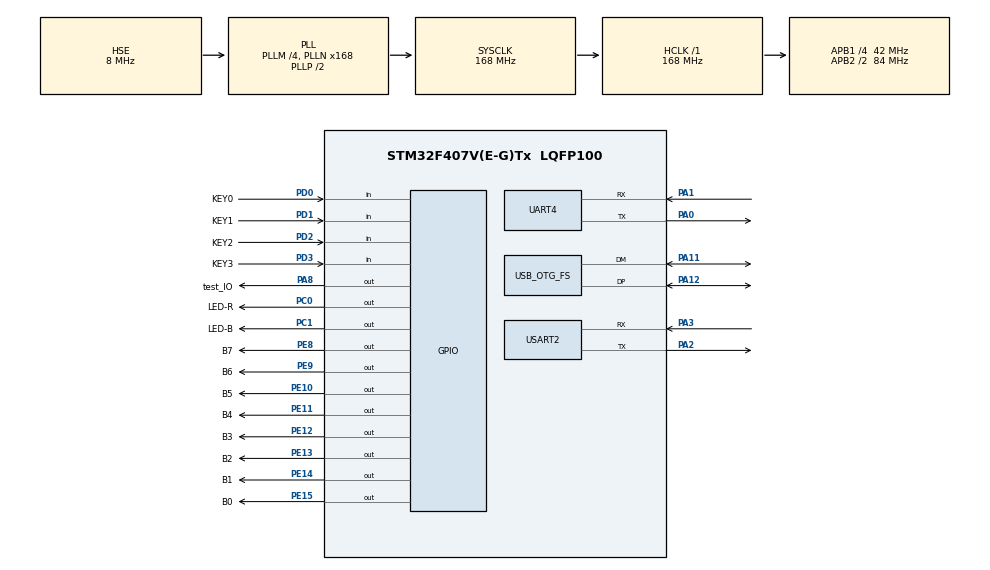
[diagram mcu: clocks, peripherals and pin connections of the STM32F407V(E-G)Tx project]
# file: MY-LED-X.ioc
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Mcu.Family=STM32F4
Mcu.Name=STM32F407V(E-G)Tx
Mcu.Package=LQFP100
NVIC.OTG_FS_IRQn=true\:0\:0\:false\:false\:true\:false\:true\:true
NVIC.PriorityGroup=NVIC_PRIORITYGROUP_4
NVIC.TIM3_IRQn=true\:0\:0\:false\:false\:true\:true\:true\:true
NVIC.UART4_IRQn=true\:0\:0\:false\:false\:true\:true\:true\:true
NVIC.USART2_IRQn=true\:0\:0\:false\:false\:true\:true\:true\:true
PA0-WKUP.Mode=Asynchronous
PA0-WKUP.Signal=UART4_TX
PA1.GPIO_PuPd=GPIO_PULLUP
PA1.Mode=Asynchronous
PA1.Signal=UART4_RX
PA11.Mode=Host_Only
PA11.Signal=USB_OTG_FS_DM
PA12.Mode=Host_Only
PA12.Signal=USB_OTG_FS_DP
PA2.Mode=Asynchronous
PA2.Signal=USART2_TX
PA3.GPIO_PuPd=GPIO_PULLUP
PA3.Mode=Asynchronous
PA3.Signal=USART2_RX
PA8.GPIO_Label=test_IO
PA8.GPIO_Speed=GPIO_SPEED_FREQ_VERY_HIGH
PA8.Signal=GPIO_Output
PC0.GPIO_Label=LED-R
PC0.Signal=GPIO_Output
PC1.GPIO_Label=LED-B
PC1.GPIO_Speed=GPIO_SPEED_FREQ_VERY_HIGH
PC1.PinState=GPIO_PIN_SET
PC1.Signal=GPIO_Output
PD0.GPIO_Label=KEY0
PD0.GPIO_PuPd=GPIO_PULLUP
PD0.Signal=GPIO_Input
PD1.GPIO_Label=KEY1
PD1.GPIO_PuPd=GPIO_PULLUP
PD1.Signal=GPIO_Input
PD2.GPIO_Label=KEY2
PD2.GPIO_PuPd=GPIO_PULLUP
PD2.Signal=GPIO_Input
PD3.GPIO_Label=KEY3
PD3.GPIO_PuPd=GPIO_PULLUP
PD3.Signal=GPIO_Input
PE10.GPIO_Label=B5
PE10.Signal=GPIO_Output
PE11.GPIO_Label=B4
PE11.Signal=GPIO_Output
PE12.GPIO_Label=B3
PE12.Signal=GPIO_Output
PE13.GPIO_Label=B2
PE13.Signal=GPIO_Output
PE14.GPIO_Label=B1
PE14.Signal=GPIO_Output
PE15.GPIO_Label=B0
PE15.Signal=GPIO_Output
PE8.GPIO_Label=B7
PE8.Signal=GPIO_Output
PE9.GPIO_Label=B6
PE9.Signal=GPIO_Output
PH0-OSC_IN.Mode=HSE-External-Oscillator
PH0-OSC_IN.Signal=RCC_OSC_IN
PH1-OSC_OUT.Mode=HSE-External-Oscillator
PH1-OSC_OUT.Signal=RCC_OSC_OUT
ProjectManager.HeapSize=0x200
ProjectManager.StackSize=0x400
ProjectManager.TargetToolchain=STM32CubeIDE
RCC.48MHZClocksFreq_Value=48000000
RCC.AHBFreq_Value=168000000
RCC.APB1CLKDivider=RCC_HCLK_DIV4
RCC.APB1Freq_Value=42000000
RCC.APB1TimFreq_Value=84000000
RCC.APB2CLKDivider=RCC_HCLK_DIV2
RCC.APB2Freq_Value=84000000
RCC.APB2TimFreq_Value=168000000
RCC.CortexFreq_Value=168000000
RCC.HCLKFreq_Value=168000000
RCC.HSE_VALUE=8000000
RCC.HSI_VALUE=16000000
RCC.LSE_VALUE=32768
RCC.PLLM=4
RCC.PLLN=168
RCC.PLLQ=7
RCC.RCC_MCO1Source=RCC_MCO1SOURCE_PLLCLK
RCC.RCC_MCODiv1=RCC_MCODIV_2
RCC.RCC_MCODiv2=RCC_MCODIV_2
RCC.SYSCLKFreq_VALUE=168000000
RCC.SYSCLKSource=RCC_SYSCLKSOURCE_PLLCLK
RCC.VCOOutputFreq_Value=336000000
TIM3.Period=999
TIM3.Prescaler=83
UART4.VirtualMode=Asynchronous
USART2.VirtualMode=VM_ASYNC
USB_HOST.BSP.number=1
USB_HOST.USBH_HandleTypeDef-ALL_Classes_FS=hUsbHostFS
USB_HOST.VirtualModeFS=All_Classes
USB_HOST0.BSP.STBoard=false
USB_HOST0.BSP.api=Unknown
USB_HOST0.BSP.condition=SW_VBUS_DRIVE_CDC_FS \= false
USB_HOST0.BSP.instance=PA8
USB_HOST0.BSP.ip=GPIO
USB_HOST0.BSP.mode=Output
USB_HOST0.BSP.name=Drive_VBUS_FS
USB_HOST0.BSP.solution=PA8
USB_OTG_FS.VirtualMode=Host_Only
USB_OTG_FS.phy_itface=HCD_PHY_EMBEDDED
VP_TIM3_VS_ClockSourceINT.Mode=Internal
VP_USB_HOST_VS_USB_HOST_ALL_CLASS_FS.Mode=ALL_Classes_FS
board=custom

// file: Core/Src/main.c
/* USER CODE BEGIN Header */
/**
  ******************************************************************************
  * @file           : main.c
  * @brief          : Main program body
  ******************************************************************************
  * @attention
  *
  * Copyright (c) 2025 STMicroelectronics.
  * All rights reserved.
  *
  * This software is licensed under terms that can be found in the LICENSE file
  * in the root directory of this software component.
  * If no LICENSE file comes with this software, it is provided AS-IS.
  *
  ******************************************************************************
  */
/* USER CODE END Header */
#include "main.h"
#include "tim.h"
#include "usart.h"
#include "usb_host.h"
#include "gpio.h"

/* USER CODE BEGIN Includes */
#include "usbh_cdc.h"
#include <stdio.h>
#include "usbh_core.h"
#include "usbh_ft232.h"
/* USER CODE END Includes */

void SystemClock_Config(void);
void MX_USB_HOST_Process(void);

/* USER CODE BEGIN PFP */
#include "crc_xmod.h"
volatile uint8_t 		time3_1000ms_flag=0,time3_500ms_flag=0,time3_100ms_flag=0,time3_50ms_flag=0,time3_10ms_flag=0,time3_1ms_flag ;
volatile uint8_t 		and_uart_stop_cnt=0,and_rx_buffer[and_uart_buf_size],and_rx_buffer_bk[and_uart_buf_size];
volatile uint8_t 		pc_uart_stop_cnt=0,pc_rx_buffer[pc_uart_buf_size],pc_rx_buffer_bk[pc_uart_buf_size];
volatile uint32_t 		and_current_len_bk=0,and_current_len=0,pc_current_len=0,pc_current_len_bk=0;
volatile uint8_t 		temp1,temp2;
volatile uint16_t		crc_temp1;
volatile uint8_t    	send_buf[64],line_coding_set=0;
volatile uint32_t 		voltage1=0,voltage2=0;
/* USER CODE END PFP */

/* USER CODE BEGIN 0 */
#define COMPILER_BARRIER() __asm volatile("" ::: "memory")
uint8_t flag;

extern USBH_HandleTypeDef hUsbHostFS;
extern ApplicationTypeDef Appli_state;
extern USBH_StatusTypeDef usbresult;

#define RX_BUFF_SIZE   64  /* Max Received data 1KB */

uint8_t CDC_RX_Buffer[RX_BUFF_SIZE];
uint8_t CDC_TX_Buffer[RX_BUFF_SIZE];

typedef enum {
  CDC_STATE_IDLE = 0,
  CDC_SEND,
  CDC_RECEIVE,
}CDC_StateTypedef;

CDC_StateTypedef CDC_STATE = CDC_STATE_IDLE;

uint8_t i=0;
void CDC_HANDLE (void)
{
	switch (CDC_STATE)
	{
	case CDC_STATE_IDLE:
	{
		  USBH_CDC_Stop(&hUsbHostFS);
//
		  CDC_TX_Buffer[0]=0x02;
		  CDC_TX_Buffer[1]=0x30;
		  CDC_TX_Buffer[2]=0x30;
		  CDC_TX_Buffer[3]=0x35;
		  CDC_TX_Buffer[4]=0x34;
		  CDC_TX_Buffer[5]=0x31;
		  CDC_TX_Buffer[6]=0x20;
		  CDC_TX_Buffer[7]=0x20;
		  CDC_TX_Buffer[8]=0x20;
		  CDC_TX_Buffer[9]=0x03;
		  CDC_TX_Buffer[10]=0x31;
		  CDC_TX_Buffer[11]=0x33;
		  CDC_TX_Buffer[12]=0x0D;
		  CDC_TX_Buffer[13]=0x0A;
		  if (USBH_CDC_Transmit (&hUsbHostFS, CDC_TX_Buffer, 14) == USBH_OK)
		  {
			  CDC_STATE = CDC_RECEIVE;
		  }

		  i++;
		  break;
	}

	case CDC_RECEIVE:
	{
		  USBH_CDC_Stop(&hUsbHostFS);
		  usbresult = USBH_CDC_Receive(&hUsbHostFS, (uint8_t *) CDC_RX_Buffer, RX_BUFF_SIZE);
		  HAL_Delay (1000);
		  pc_uart_send(CDC_RX_Buffer,RX_BUFF_SIZE);
		  CDC_STATE = CDC_IDLE;
	}

	default:
		  break;
	}
}

void my_copy(uint8_t*desti,uint8_t* sourc,uint32_t len)
{
	for(uint32_t i=0;i<len;i++){	desti[i]=sourc[i];}
}
void delay_us(uint32_t cnt)
{
	while(cnt--)
	{
		__NOP();__NOP();__NOP();__NOP();__NOP();__NOP();__NOP();__NOP();__NOP();__NOP();__NOP();__NOP();__NOP();__NOP();__NOP();__NOP();__NOP();__NOP();__NOP();__NOP();__NOP();__NOP();__NOP();__NOP();__NOP();__NOP();__NOP();__NOP();__NOP();__NOP();__NOP();__NOP();__NOP();__NOP();__NOP();__NOP();__NOP();__NOP();__NOP();__NOP();__NOP();__NOP();__NOP();__NOP();__NOP();__NOP();__NOP();__NOP();__NOP();__NOP();__NOP();__NOP();__NOP();__NOP();__NOP();__NOP();__NOP();__NOP();__NOP();__NOP();__NOP();__NOP();__NOP();__NOP();__NOP();__NOP();__NOP();__NOP();__NOP();__NOP();__NOP();__NOP();__NOP();__NOP();__NOP();__NOP();__NOP();__NOP();__NOP();__NOP();__NOP();__NOP();__NOP();__NOP();__NOP();__NOP();__NOP();__NOP();__NOP();__NOP();__NOP();__NOP();__NOP();__NOP();__NOP();__NOP();__NOP();__NOP();__NOP();__NOP();
		__NOP();__NOP();__NOP();__NOP();__NOP();__NOP();__NOP();__NOP();__NOP();__NOP();__NOP();__NOP();__NOP();__NOP();__NOP();__NOP();__NOP();__NOP();__NOP();__NOP();__NOP();__NOP();__NOP();__NOP();__NOP();__NOP();__NOP();__NOP();__NOP();__NOP();__NOP();__NOP();__NOP();__NOP();__NOP();__NOP();__NOP();__NOP();__NOP();__NOP();__NOP();__NOP();__NOP();__NOP();__NOP();__NOP();__NOP();__NOP();__NOP();__NOP();__NOP();__NOP();__NOP();__NOP();__NOP();__NOP();__NOP();__NOP();__NOP();__NOP();__NOP();__NOP();__NOP();__NOP();__NOP();
	}
}
#define delay_100ns() {__NOP();__NOP();__NOP();__NOP();__NOP();__NOP();__NOP();__NOP();__NOP();__NOP();__NOP();__NOP();__NOP();__NOP();__NOP();__NOP();__NOP();}
void delay_ms(uint32_t cnt)
{
	while(cnt--)
	{
		delay_us(1000);
	}
}
#define  dac_delay()  delay_us(1)
//#define  dac_delay()  delay_100ns()
void set_voltage1(uint32_t valuee)
{
	SYNC1_SET();
	CLK_SET()
	dac_delay();
	SYNC1_RESET();
	dac_delay();
	valuee<<=8;
	for(uint32_t i=0;i<24;i++)
	{
		if(valuee&0x80000000)	{DAT_SET();}
		else									{DAT_RESET();}
		valuee<<=1;
		dac_delay();
		CLK_RESET();
		dac_delay();
		CLK_SET();
	}
	SYNC1_SET();
}
void set_voltage2(uint32_t valuee)
{
	SYNC2_SET();
	CLK_SET()
	dac_delay();
	SYNC2_RESET();
	dac_delay();
	valuee<<=8;
	for(uint32_t i=0;i<24;i++)
	{
		if(valuee&0x80000000)	{DAT_SET();}
		else									{DAT_RESET();}
		valuee<<=1;
		dac_delay();
		CLK_RESET();
		dac_delay();
		CLK_SET();
	}
	SYNC2_SET();
}
void send_data_1(USART_TypeDef *USARTx, uint8_t dddat)
{
	uint32_t i=100;
	LL_USART_TransmitData8(USARTx, dddat);
	while(--i)
	{
		if(LL_USART_IsActiveFlag_TXE(USARTx)!=RESET){break;}
		delay_us(1);
	}
}
void send_data_all(USART_TypeDef *USARTx, uint8_t* dat,uint32_t len)
{
//	__disable_irq();
	uint32_t i=1000;
	for(uint32_t i=0;i<len;i++)	{	send_data_1(USARTx,dat[i]);	}

	while(--i)
	{
		if(LL_USART_IsActiveFlag_TC(USARTx)!=RESET){break;}
		delay_us(1);
	}
//	__enable_irq();
}
void pc_uart_send( uint8_t* dat,uint32_t len)
{
	send_data_all(UART4,dat,len);
}
void send_test(void)
{
	send_buf[0]=1;
	send_buf[1]=2;
	send_buf[2]=3;
	send_buf[3]=4;
	send_data_all(USART2, (uint8_t*)send_buf,4);
}

// 重定向printf到UART4
int __io_putchar(int ch)
{
//  HAL_UART_Transmit(&huart4, (uint8_t*)&ch, 1, HAL_MAX_DELAY);
  send_data_1(UART4,(uint8_t)ch);
  return ch;
}

// 如果使用ARMCC编译器
int fputc(int ch, FILE *f)
{
  return __io_putchar(ch);
}
void usb_test(void)
{
	if (Appli_state == APPLICATION_START)
	{
		LL_GPIO_ResetOutputPin(GPIOC, LED_R_Pin);
		LL_GPIO_SetOutputPin(test_IO_GPIO_Port, test_IO_Pin);
	}
	else if (Appli_state == APPLICATION_READY)
	{
		LL_GPIO_ResetOutputPin(GPIOC, LED_B_Pin);
		CDC_TX_Buffer[0]=0x02;
		  CDC_TX_Buffer[1]=0x30;
		  CDC_TX_Buffer[2]=0x30;
		  CDC_TX_Buffer[3]=0x35;
		  CDC_TX_Buffer[4]=0x34;
		  CDC_TX_Buffer[5]=0x31;
		  CDC_TX_Buffer[6]=0x20;
		  CDC_TX_Buffer[7]=0x20;
		  CDC_TX_Buffer[8]=0x20;
		  CDC_TX_Buffer[9]=0x03;
		  CDC_TX_Buffer[10]=0x31;
		  CDC_TX_Buffer[11]=0x33;
		  CDC_TX_Buffer[12]=0x0D;
		  CDC_TX_Buffer[13]=0x0A;
		  USBH_FT232_Transmit (&hUsbHostFS, CDC_TX_Buffer, 14);
		  delay_ms(50);
		  USBH_FT232_Receive (&hUsbHostFS, CDC_RX_Buffer, RX_BUFF_SIZE);
		  delay_ms(50);
		  pc_uart_send(&CDC_RX_Buffer[2],RX_BUFF_SIZE);

	}
	else
	{
		if (Appli_state == APPLICATION_DISCONNECT){LL_GPIO_ResetOutputPin(test_IO_GPIO_Port, test_IO_Pin);}
		LL_GPIO_SetOutputPin(GPIOC, LED_B_Pin);
		LL_GPIO_SetOutputPin(GPIOC, LED_R_Pin);
	}

}

//	if (Appli_state == APPLICATION_START)
//	{
//		 if (Appli_state == APPLICATION_READY && line_coding_set == 0) {
//		            CDC_LineCodingTypeDef linecoding;
//		            linecoding.data_rate = 115200;    // 波特率115200
//		            linecoding.data_bits = 8;         // 8数据位
//		            linecoding.parity_type = 0;       // 无奇偶校验
//		            linecoding.char_format = 0;       // 1停止位
//
//		            if (USBH_CDC_SetLineCoding(&hUsbHostFS, &linecoding) == USBH_OK) {
//		                line_coding_set = 1;          // 设置成功，标记为已完成
//		            }
//		  USBH_CDC_Stop(&hUsbHostFS);
//		  CDC_TX_Buffer[0]=0x02;
//		  CDC_TX_Buffer[1]=0x30;
//		  CDC_TX_Buffer[2]=0x30;
//		  CDC_TX_Buffer[3]=0x35;
//		  CDC_TX_Buffer[4]=0x34;
//		  CDC_TX_Buffer[5]=0x31;
//		  CDC_TX_Buffer[6]=0x20;
//		  CDC_TX_Buffer[7]=0x20;
//		  CDC_TX_Buffer[8]=0x20;
//		  CDC_TX_Buffer[9]=0x03;
//		  CDC_TX_Buffer[10]=0x31;
//		  CDC_TX_Buffer[11]=0x33;
//		  CDC_TX_Buffer[12]=0x0D;
//		  CDC_TX_Buffer[13]=0x0A;
//		  USBH_CDC_Transmit (&hUsbHostFS, CDC_TX_Buffer, 14);
//		  LL_GPIO_ResetOutputPin(GPIOC, LED_B_Pin);
//	}
//	else
//	{
////	  USBH_CDC_Stop(&hUsbHostFS);
////	  usbresult = USBH_CDC_Receive(&hUsbHostFS, (uint8_t *) CDC_RX_Buffer, RX_BUFF_SIZE);
////	  HAL_Delay (200);
////	  pc_uart_send(CDC_RX_Buffer,RX_BUFF_SIZE);
////	  LL_GPIO_SetOutputPin(GPIOC, LED_B_Pin);
//	}

/* USER CODE END 0 */

int main(void)
{

  /* MCU Configuration--------------------------------------------------------*/

  /* Reset of all peripherals, Initializes the Flash interface and the Systick. */
  HAL_Init();

  /* Configure the system clock */
  SystemClock_Config();

  /* Initialize all configured peripherals */
  MX_GPIO_Init();
  MX_UART4_Init();
  MX_USART2_UART_Init();
  MX_TIM3_Init();
  MX_USB_HOST_Init();
  /* USER CODE BEGIN 2 */
	LL_GPIO_SetOutputPin(GPIOC, LED_R_Pin|LED_B_Pin);
	LL_GPIO_ResetOutputPin(GPIOC, LED_R_Pin);
	set_voltage2(0);
	set_voltage1(0);
	USBH_UsrLog("power on\n");
  /* USER CODE END 2 */

  /* Infinite loop */
  /* USER CODE BEGIN WHILE */
  while (1)//18nS
  {
//		test();
//		if(KEY0_READ()==0){flag=flag?0:1;}
//		if(KEY1_READ()==0){flag=flag?0:1;}
//		if(KEY2_READ()==0){flag=flag?0:1;}
//		if(KEY3_READ()==0){flag=flag?0:1;}
//

//		HAL_Delay(500);
//		LL_GPIO_SetOutputPin(GPIOC, LED_R_Pin);
//		HAL_Delay(1);

    /* USER CODE END WHILE */
    MX_USB_HOST_Process();

    /* USER CODE BEGIN 3 */

    if(time3_500ms_flag)
	{
		time3_500ms_flag=0;
		flag=flag?0:1;
//		if(flag)	{LL_GPIO_ResetOutputPin(GPIOC, LED_R_Pin);}
//		else		{LL_GPIO_SetOutputPin(GPIOC, LED_R_Pin);}
		usb_test();
	}
	if(and_uart_stop_cnt>5)
	{
		and_current_len_bk=and_current_len;
		my_copy((uint8_t*)and_rx_buffer_bk,(uint8_t*)and_rx_buffer,and_current_len_bk);
		and_uart_stop_cnt=0;
		and_current_len=0;
		//send_data_all(USART2,(uint8_t*)and_rx_buffer_bk,and_current_len_bk);
		crc_temp1=do_crc_table((uint8_t*)and_rx_buffer_bk,and_current_len_bk-2);
		temp2=crc_temp1;
		temp1=crc_temp1>>8;
		if((temp1==and_rx_buffer_bk[and_current_len_bk-2])&&(temp2==and_rx_buffer_bk[and_current_len_bk-1]))
		{
			send_data_all(USART2,(uint8_t*)and_rx_buffer_bk,and_current_len_bk-2);
			voltage1=((uint16_t)and_rx_buffer_bk[0])<<8;
			voltage1+=((uint16_t)and_rx_buffer_bk[1]);
			voltage2=((uint16_t)and_rx_buffer_bk[2])<<8;
			voltage2+=((uint16_t)and_rx_buffer_bk[3]);
			set_voltage2(voltage2);
			set_voltage1(voltage1);
		}
	}
	if(pc_uart_stop_cnt>5)
	{
		pc_current_len_bk=pc_current_len;
		my_copy((uint8_t*)pc_rx_buffer_bk,(uint8_t*)pc_rx_buffer,pc_current_len_bk);
		pc_uart_stop_cnt=0;
		pc_current_len=0;
		send_data_all(UART4,(uint8_t*)pc_rx_buffer_bk,pc_current_len_bk);
		crc_temp1=do_crc_table((uint8_t*)pc_rx_buffer_bk,pc_current_len_bk-2);
		temp2=crc_temp1;
		temp1=crc_temp1>>8;
		if((temp1==pc_rx_buffer_bk[pc_current_len_bk-2])&&(temp2==pc_rx_buffer_bk[pc_current_len_bk-1]))
		{
			send_data_all(USART2,(uint8_t*)pc_rx_buffer_bk,pc_current_len_bk-2);
		}
	}
  }
  /* USER CODE END 3 */
}

void SystemClock_Config(void)
{
  RCC_OscInitTypeDef RCC_OscInitStruct = {0};
  RCC_ClkInitTypeDef RCC_ClkInitStruct = {0};

  /** Configure the main internal regulator output voltage
  */
  __HAL_RCC_PWR_CLK_ENABLE();
  __HAL_PWR_VOLTAGESCALING_CONFIG(PWR_REGULATOR_VOLTAGE_SCALE1);

  /** Initializes the RCC Oscillators according to the specified parameters
  * in the RCC_OscInitTypeDef structure.
  */
  RCC_OscInitStruct.OscillatorType = RCC_OSCILLATORTYPE_HSE;
  RCC_OscInitStruct.HSEState = RCC_HSE_ON;
  RCC_OscInitStruct.PLL.PLLState = RCC_PLL_ON;
  RCC_OscInitStruct.PLL.PLLSource = RCC_PLLSOURCE_HSE;
  RCC_OscInitStruct.PLL.PLLM = 4;
  RCC_OscInitStruct.PLL.PLLN = 168;
  RCC_OscInitStruct.PLL.PLLP = RCC_PLLP_DIV2;
  RCC_OscInitStruct.PLL.PLLQ = 7;
  if (HAL_RCC_OscConfig(&RCC_OscInitStruct) != HAL_OK)
  {
    Error_Handler();
  }

  /** Initializes the CPU, AHB and APB buses clocks
  */
  RCC_ClkInitStruct.ClockType = RCC_CLOCKTYPE_HCLK|RCC_CLOCKTYPE_SYSCLK
                              |RCC_CLOCKTYPE_PCLK1|RCC_CLOCKTYPE_PCLK2;
  RCC_ClkInitStruct.SYSCLKSource = RCC_SYSCLKSOURCE_PLLCLK;
  RCC_ClkInitStruct.AHBCLKDivider = RCC_SYSCLK_DIV1;
  RCC_ClkInitStruct.APB1CLKDivider = RCC_HCLK_DIV4;
  RCC_ClkInitStruct.APB2CLKDivider = RCC_HCLK_DIV2;

  if (HAL_RCC_ClockConfig(&RCC_ClkInitStruct, FLASH_LATENCY_5) != HAL_OK)
  {
    Error_Handler();
  }
}

void Error_Handler(void)
{
  __disable_irq();
  while (1)
  {
  }
}
